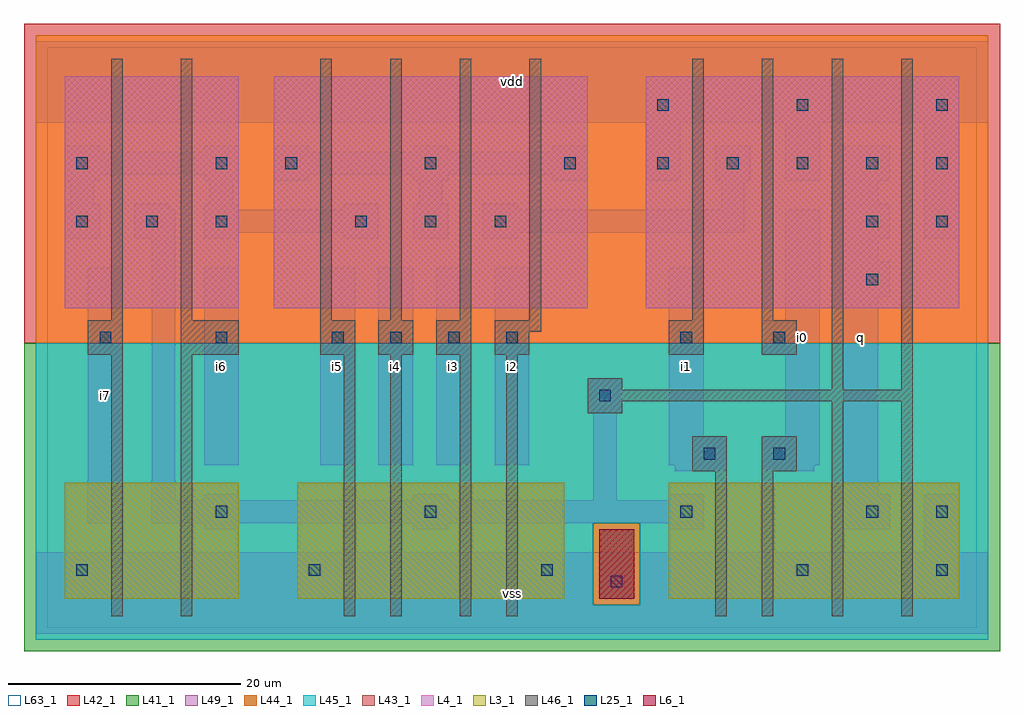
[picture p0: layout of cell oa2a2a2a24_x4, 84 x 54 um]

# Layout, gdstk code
import gdstk
lib = gdstk.Library(unit=1e-6, precision=1e-09)
def R(c, l, rs):  # rectangles x0, y0, x1, y1
    for r in rs: c.add(gdstk.rectangle(r[:2], r[2:], *l))
def A(c, l, x, y, w, h, nx, ny, dx, dy):  # array of equal rectangles
    R(c, l, [(x+i*dx, y+j*dy, x+i*dx+w, y+j*dy+h) for i in range(nx) for j in range(ny)])
L3_1 = (3, 1)
L4_1 = (4, 1)
L6_1 = (6, 1)
L25_1 = (25, 1)
L41_1 = (41, 1)
L42_1 = (42, 1)
L43_1 = (43, 1)
L44_1 = (44, 1)
L45_1 = (45, 1)
L46_1 = (46, 1)
L49_1 = (49, 1)
L63_1 = (63, 1)

oa2a2a2a24_x4 = lib.new_cell('oa2a2a2a24_x4')
R(oa2a2a2a24_x4, L3_1, [(1.5,2.5,16.5,12.5), (21.5,2.5,44.5,12.5), (53.5,2.5,78.5,12.5)])
R(oa2a2a2a24_x4, L4_1, [(1.5,27.5,16.5,47.5), (19.5,27.5,46.5,47.5), (51.5,27.5,78.5,47.5)])
R(oa2a2a2a24_x4, L6_1, [(47.5,2.5,50.5,8.5)])
A(oa2a2a2a24_x4, L25_1, 2.5, 4.5, 1, 1, 3, 1, 20, 0)
A(oa2a2a2a24_x4, L25_1, 4.5, 24.5, 1, 1, 3, 1, 10, 0)
A(oa2a2a2a24_x4, L25_1, 29.5, 24.5, 1, 1, 3, 1, 5, 0)
A(oa2a2a2a24_x4, L25_1, 2.5, 34.5, 1, 1, 3, 1, 6, 0)
A(oa2a2a2a24_x4, L25_1, 26.5, 34.5, 1, 1, 3, 1, 6, 0)
A(oa2a2a2a24_x4, L25_1, 20.5, 39.5, 1, 1, 3, 1, 12, 0)
A(oa2a2a2a24_x4, L25_1, 52.5, 39.5, 1, 1, 5, 1, 6, 0)
A(oa2a2a2a24_x4, L25_1, 52.5, 44.5, 1, 1, 3, 1, 12, 0)
R(oa2a2a2a24_x4, L25_1, [(48.5,3.5,49.5,4.5), (64.5,4.5,65.5,5.5), (76.5,4.5,77.5,5.5), (14.5,9.5,15.5,10.5), (32.5,9.5,33.5,10.5), (54.5,9.5,55.5,10.5), (70.5,9.5,71.5,10.5), (76.5,9.5,77.5,10.5), (56.5,14.5,57.5,15.5), (62.5,14.5,63.5,15.5), (47.5,19.5,48.5,20.5), (54.5,24.5,55.5,25.5), (62.5,24.5,63.5,25.5), (70.5,29.5,71.5,30.5), (70.5,34.5,71.5,35.5), (76.5,34.5,77.5,35.5), (2.5,39.5,3.5,40.5), (14.5,39.5,15.5,40.5)])
R(oa2a2a2a24_x4, L41_1, [(-2,-2,82,24.5)])
R(oa2a2a2a24_x4, L42_1, [(-2,24.5,82,52)])
R(oa2a2a2a24_x4, L43_1, [(1.5,2.5,16.5,12.5), (21.5,2.5,44.5,12.5), (47.5,2.5,50.5,8.5), (53.5,2.5,78.5,12.5), (1.5,27.5,16.5,47.5), (19.5,27.5,46.5,47.5), (51.5,27.5,78.5,47.5)])
R(oa2a2a2a24_x4, L44_1, [(47,2,51,9), (-1,24.5,81,51)])
R(oa2a2a2a24_x4, L45_1, [(-1,-1,81,2), (-1,2,47,9), (51,2,81,9), (-1,9,81,24.5)])
A(oa2a2a2a24_x4, L46_1, 23.5, 23.5, 3, 3, 3, 1, 5, 0)
A(oa2a2a2a24_x4, L46_1, 23.5, 26.5, 1, 22.5, 4, 1, 6, 0)
R(oa2a2a2a24_x4, L46_1, [(5.5,1,6.5,23.5), (11.5,1,12.5,23.5), (25.5,1,26.5,23.5), (29.5,1,30.5,23.5), (35.5,1,36.5,23.5), (39.5,1,40.5,23.5), (57.5,1,58.5,13.5), (61.5,1,62.5,13.5), (67.5,1,68.5,19.5), (73.5,1,74.5,19.5), (55.5,13.5,58.5,16.5), (61.5,13.5,64.5,16.5), (46.5,18.5,49.5,19.5), (46.5,19.5,74.5,20.5), (46.5,20.5,49.5,21.5), (67.5,20.5,68.5,49), (73.5,20.5,74.5,49), (3.5,23.5,6.5,26.5), (11.5,23.5,16.5,26.5), (38.5,23.5,41.5,25.5), (53.5,23.5,56.5,26.5), (61.5,23.5,64.5,26.5), (38.5,25.5,42.5,26.5), (5.5,26.5,6.5,49), (11.5,26.5,12.5,49), (55.5,26.5,56.5,49), (61.5,26.5,62.5,49)])
A(oa2a2a2a24_x4, L49_1, 23.5, 14, 3, 17, 4, 1, 5, 0)
A(oa2a2a2a24_x4, L49_1, 68.5, 28.5, 4, 3, 1, 3, 0, 5)
A(oa2a2a2a24_x4, L49_1, 13.5, 33.5, 3, 0.5, 3, 2, 12, 2.5)
A(oa2a2a2a24_x4, L49_1, 19.5, 38.5, 3, 0.5, 3, 2, 12, 2.5)
R(oa2a2a2a24_x4, L49_1, [(-1,-0.5,81,6.5), (75.5,6.5,78.5,11.5), (13.5,8.5,16.5,9), (31.5,8.5,34.5,9), (53.5,8.5,56.5,9), (68.5,8.5,72.5,11.5), (3.5,9,6.5,31), (9,9,56.5,11), (9,11,11,33.5), (13.5,11,16.5,11.5), (31.5,11,34.5,11.5), (47,11,49,18.5), (53.5,11,56.5,11.5), (68.5,11.5,71.5,28.5), (54,13.5,58.5,14), (61.5,13.5,66,14), (13.5,14,16.5,31), (53.5,14,58.5,16.5), (61.5,14,66.5,16.5), (53.5,16.5,56.5,31), (63.5,16.5,66.5,23.5), (46.5,18.5,49.5,21.5), (61.5,23.5,66.5,26.5), (63.5,26.5,66.5,36), (68.5,31.5,71.5,33.5), (1.5,33.5,4.5,36.5), (7.5,33.5,11,36), (31.5,33.5,34.5,36.5), (75.5,33.5,78.5,43.5), (13.5,34,28.5,36), (37.5,34,60,36), (7.5,36,10.5,36.5), (58,36,60,38.5), (2,36.5,4,38.5), (14,36.5,16,38.5), (32,36.5,34,38.5), (68.5,36.5,71.5,38.5), (1.5,38.5,4.5,39), (13.5,38.5,16.5,39), (51.5,38.5,54.5,43.5), (57.5,38.5,60.5,41.5), (63.5,38.5,66.5,43.5), (1.5,39,16.5,41), (19.5,39,46.5,41), (1.5,41,4.5,41.5), (13.5,41,16.5,41.5), (-1,43.5,81,50.5)])
R(oa2a2a2a24_x4, L63_1, [(0,0,80,50)])
oa2a2a2a24_x4.add(gdstk.Label('i7', (5,20), layer=49, texttype=1))
oa2a2a2a24_x4.add(gdstk.Label('i7', (5,20), layer=49, texttype=1))
oa2a2a2a24_x4.add(gdstk.Label('i6', (15,22.5), layer=49, texttype=1))
oa2a2a2a24_x4.add(gdstk.Label('i6', (15,22.5), layer=49, texttype=1))
oa2a2a2a24_x4.add(gdstk.Label('i5', (25,22.5), layer=49, texttype=1))
oa2a2a2a24_x4.add(gdstk.Label('i4', (30,22.5), layer=49, texttype=1))
oa2a2a2a24_x4.add(gdstk.Label('i4', (30,22.5), layer=49, texttype=1))
oa2a2a2a24_x4.add(gdstk.Label('i5', (25,22.5), layer=49, texttype=1))
oa2a2a2a24_x4.add(gdstk.Label('vss', (40,3), layer=49, texttype=1))
oa2a2a2a24_x4.add(gdstk.Label('vss', (40,3), layer=49, texttype=1))
oa2a2a2a24_x4.add(gdstk.Label('i2', (40,22.5), layer=49, texttype=1))
oa2a2a2a24_x4.add(gdstk.Label('i3', (35,22.5), layer=49, texttype=1))
oa2a2a2a24_x4.add(gdstk.Label('i3', (35,22.5), layer=49, texttype=1))
oa2a2a2a24_x4.add(gdstk.Label('i2', (40,22.5), layer=49, texttype=1))
oa2a2a2a24_x4.add(gdstk.Label('vdd', (40,47), layer=49, texttype=1))
oa2a2a2a24_x4.add(gdstk.Label('vdd', (40,47), layer=49, texttype=1))
oa2a2a2a24_x4.add(gdstk.Label('i1', (55,22.5), layer=49, texttype=1))
oa2a2a2a24_x4.add(gdstk.Label('i1', (55,22.5), layer=49, texttype=1))
oa2a2a2a24_x4.add(gdstk.Label('i0', (65,25), layer=49, texttype=1))
oa2a2a2a24_x4.add(gdstk.Label('i0', (65,25), layer=49, texttype=1))
oa2a2a2a24_x4.add(gdstk.Label('q', (70,25), layer=49, texttype=1))
oa2a2a2a24_x4.add(gdstk.Label('q', (70,25), layer=49, texttype=1))

lib.write_gds('oa2a2a2a24_x4.gds')
